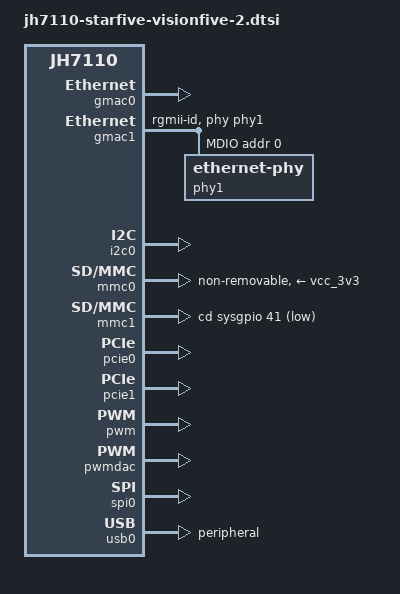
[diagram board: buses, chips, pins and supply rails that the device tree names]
// SPDX-License-Identifier: GPL-2.0 OR MIT
/*
 * Copyright (C) 2022 StarFive Technology Co., Ltd.
 * Copyright (C) 2022 Emil Renner Berthing <kernel@esmil.dk>
 */

/dts-v1/;
#include "jh7110-common.dtsi"

/ {
	aliases {
		ethernet1 = &gmac1;
	};
};

&gmac0 {
	status = "okay";
};

&gmac1 {
	phy-handle = <&phy1>;
	phy-mode = "rgmii-id";
	status = "okay";

	mdio {
		#address-cells = <1>;
		#size-cells = <0>;
		compatible = "snps,dwmac-mdio";

		phy1: ethernet-phy@1 {
			reg = <0>;
		};
	};
};

&i2c0 {
	status = "okay";
};

&mmc0 {
	cap-mmc-highspeed;
	cap-mmc-hw-reset;
	mmc-ddr-1_8v;
	mmc-hs200-1_8v;
	vmmc-supply = <&vcc_3v3>;
	vqmmc-supply = <&emmc_vdd>;
	non-removable;
};

&mmc0_pins {
	 rst-pins {
		pinmux = <GPIOMUX(62, GPOUT_SYS_SDIO0_RST,
				      GPOEN_ENABLE,
				      GPI_NONE)>;
		bias-pull-up;
		drive-strength = <12>;
		input-disable;
		input-schmitt-disable;
		slew-rate = <0>;
	};
};

&mmc1 {
	cd-gpios = <&sysgpio 41 GPIO_ACTIVE_LOW>;
	disable-wp;
};

&pcie0 {
	status = "okay";
};

&pcie1 {
	status = "okay";
};

&pwm {
	status = "okay";
};

&pwmdac {
	status = "okay";
};

&spi0 {
	status = "okay";
};

&usb0 {
	dr_mode = "peripheral";
	status = "okay";
};
